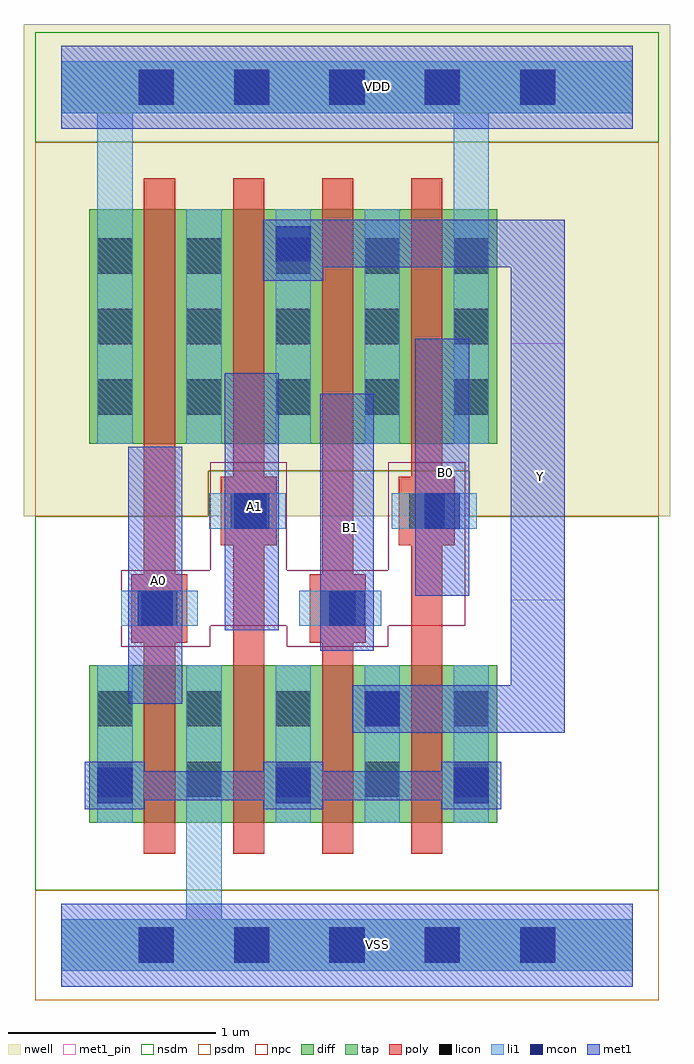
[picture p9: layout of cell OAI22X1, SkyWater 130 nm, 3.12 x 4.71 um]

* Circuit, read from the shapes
.subckt OAI22X1 A0 A1 B0 B1 VDD VSS Y
XM1 VSS A0 n1 VSS sky130_fd_pr__nfet_01v8 w=0.76 l=0.15
XM2 n1 A1 VSS VSS sky130_fd_pr__nfet_01v8 w=0.76 l=0.15
XM3 Y B1 n1 VSS sky130_fd_pr__nfet_01v8 w=0.76 l=0.15
XM4 n1 B0 Y VSS sky130_fd_pr__nfet_01v8 w=0.76 l=0.15
XM5 n2 A0 VDD VDD sky130_fd_pr__pfet_01v8 w=1.13 l=0.15
XM6 Y A1 n2 VDD sky130_fd_pr__pfet_01v8 w=1.13 l=0.15
XM7 n3 B1 Y VDD sky130_fd_pr__pfet_01v8 w=1.13 l=0.15
XM8 VDD B0 n3 VDD sky130_fd_pr__pfet_01v8 w=1.13 l=0.15
.ends

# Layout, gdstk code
import gdstk
lib = gdstk.Library(unit=1e-6, precision=1e-09)
def R(c, l, rs):  # rectangles x0, y0, x1, y1
    for r in rs: c.add(gdstk.rectangle(r[:2], r[2:], *l))
def A(c, l, x, y, w, h, nx, ny, dx, dy):  # array of equal rectangles
    R(c, l, [(x+i*dx, y+j*dy, x+i*dx+w, y+j*dy+h) for i in range(nx) for j in range(ny)])
def P(c, l, *ps):  # polygons
    for p in ps: c.add(gdstk.Polygon(p, *l))
nwell = (64, 20)
diff = (65, 20)
tap = (65, 44)
poly = (66, 20)
licon = (66, 44)
li1 = (67, 20)
mcon = (67, 44)
met1_pin = (68, 16)
met1 = (68, 20)
nsdm = (93, 44)
psdm = (94, 20)
npc = (95, 20)

licondiff_c_cdns_7515547 = lib.new_cell('LICONDIFF_C_CDNS_751554744755')
R(licondiff_c_cdns_7515547, diff, [(-0.125,-0.145,0.125,0.145)])
R(licondiff_c_cdns_7515547, licon, [(-0.085,-0.085,0.085,0.085), (-0.085,-0.085,0.085,0.085)])

pyl1con_c_cdns_751554744 = lib.new_cell('PYL1CON_C_CDNS_751554744751')
R(pyl1con_c_cdns_751554744, poly, [(-0.135,-0.165,0.135,0.165)])
R(pyl1con_c_cdns_751554744, licon, [(-0.085,-0.085,0.085,0.085)])
R(pyl1con_c_cdns_751554744, npc, [(-0.185,-0.185,0.185,0.185)])

oai22x1 = lib.new_cell('OAI22X1')
R(oai22x1, nwell, [(-0.18,2.07,2.94,4.445)])
R(oai22x1, diff, [(0.135,0.59,2.105,1.35), (0.135,2.42,2.105,3.55)])
A(oai22x1, poly, 0.4, 0.44, 0.15, 3.26, 4, 1, 0.43, 0)
A(oai22x1, licon, 0.375, -0.085, 0.17, 0.17, 5, 2, 0.46, 4.14)
A(oai22x1, licon, 0.175, 0.715, 0.17, 0.17, 5, 2, 0.43, 0.34)
A(oai22x1, licon, 0.175, 2.56, 0.17, 0.17, 3, 3, 0.86, 0.34)
A(oai22x1, li1, 1.035, 0.59, 0.17, 0.76, 3, 1, 0.43, 0)
A(oai22x1, li1, 0.175, 0.605, 0.17, 0.33, 3, 1, 0.86, 0)
R(oai22x1, li1, [(0.175,0.59,0.345,1.35), (1.465,0.975,1.635,1.305), (0.29,1.54,0.62,1.71), (0.62,1.54,0.66,1.71), (1.15,1.54,1.215,1.71), (1.215,1.54,1.545,1.71), (0.715,2.01,0.755,2.18), (0.755,2.01,1.085,2.18), (1.595,2.01,1.675,2.18), (1.675,2.01,2.005,2.18), (1.035,2.42,1.205,3.55), (1.035,3.22,1.205,3.55)])
P(oai22x1, li1, [(0.175,2.42),(0.175,4.015),(0,4.015),(0,4.265),(2.76,4.265),(2.76,4.015),(2.065,4.015),(2.065,2.42),(1.895,2.42),(1.895,4.015),(0.345,4.015),(0.345,2.42)],
  [(0,-0.125),(0,0.125),(0.605,0.125),(0.605,1.35),(0.775,1.35),(0.775,0.125),(2.76,0.125),(2.76,-0.125)])
A(oai22x1, mcon, 0.375, -0.085, 0.17, 0.17, 5, 2, 0.46, 4.14)
A(oai22x1, mcon, 0.175, 0.685, 0.17, 0.17, 3, 1, 0.86, 0)
R(oai22x1, mcon, [(1.465,1.055,1.635,1.225), (0.37,1.54,0.54,1.71), (1.295,1.54,1.465,1.71), (0.835,2.01,1.005,2.18), (1.755,2.01,1.925,2.18), (1.035,3.3,1.205,3.47)])
R(oai22x1, met1_pin, [(0.325,1.165,0.585,2.405), (1.25,1.42,1.51,2.66), (0.79,1.52,1.05,2.76), (2.17,1.665,2.43,2.905), (1.71,1.685,1.97,2.925)])
A(oai22x1, met1, 0.115, 0.655, 0.29, 0.23, 3, 1, 0.86, 0)
R(oai22x1, met1, [(1.405,1.025,1.695,1.255), (0.34,1.48,0.57,1.77), (1.265,1.48,1.495,1.77), (0.805,1.95,1.035,2.24), (1.725,1.95,1.955,2.24), (0.975,3.27,1.265,3.5)])
P(oai22x1, met1, [(1.55,1.025),(1.55,1.255),(2.17,1.255),(2.17,3.27),(1.265,3.27),(1.265,3.205),(0.975,3.205),(0.975,3.5),(2.43,3.5),(2.43,1.025)])
R(oai22x1, nsdm, [(-0.125,3.875,2.885,4.405)])
P(oai22x1, nsdm, [(-0.125,0.265),(-0.125,2.07),(0.71,2.07),(0.71,2.29),(1.97,2.29),(1.97,2.07),(2.885,2.07),(2.885,0.265)])
R(oai22x1, psdm, [(-0.125,-0.265,2.885,0.265)])
P(oai22x1, psdm, [(-0.125,2.07),(-0.125,3.875),(2.885,3.875),(2.885,2.07),(1.97,2.07),(1.97,2.29),(0.71,2.29),(0.71,2.07)])
P(oai22x1, npc, [(0.29,1.44),(0.29,1.81),(0.72,1.81),(0.72,2.33),(1.09,2.33),(1.09,1.81),(1.58,1.81),(1.58,2.33),(1.95,2.33),(1.95,1.54),(1.58,1.54),(1.58,1.44),(1.09,1.44),(1.09,1.54),(0.72,1.54),(0.72,1.44)])
oai22x1.add(gdstk.FlexPath([(0.69,2.42),(0.69,3.55)], 0.17, ends="flush", simple_path=True, layer=67, datatype=20))  # li1
oai22x1.add(gdstk.FlexPath([(1.55,2.42),(1.55,3.55)], 0.17, ends="flush", simple_path=True, layer=67, datatype=20))  # li1
oai22x1.add(gdstk.FlexPath([(0.26,0.77),(1.98,0.77)], 0.14, ends="flush", simple_path=True, layer=68, datatype=20))  # met1
oai22x1.add(gdstk.FlexPath([(0,0),(2.76,0)], 0.4, ends="flush", simple_path=True, layer=68, datatype=20))  # met1
oai22x1.add(gdstk.FlexPath([(0,4.14),(2.76,4.14)], 0.4, ends="flush", simple_path=True, layer=68, datatype=20))  # met1
oai22x1.add(gdstk.FlexPath([(0.455,1.165),(0.455,2.405)], 0.26, ends="flush", simple_path=True, layer=68, datatype=20))  # met1
oai22x1.add(gdstk.FlexPath([(1.38,1.42),(1.38,2.66)], 0.26, ends="flush", simple_path=True, layer=68, datatype=20))  # met1
oai22x1.add(gdstk.FlexPath([(0.92,1.52),(0.92,2.76)], 0.26, ends="flush", simple_path=True, layer=68, datatype=20))  # met1
oai22x1.add(gdstk.FlexPath([(1.84,1.685),(1.84,2.925)], 0.26, ends="flush", simple_path=True, layer=68, datatype=20))  # met1
oai22x1.add(gdstk.FlexPath([(0,0),(2.76,0)], 0.25, ends="flush", simple_path=True, layer=65, datatype=44))  # tap
oai22x1.add(gdstk.FlexPath([(0,4.14),(2.76,4.14)], 0.25, ends="flush", simple_path=True, layer=65, datatype=44))  # tap
oai22x1.add(gdstk.FlexPath([(0,0),(2.76,0)], 0.4, ends="flush", simple_path=True, layer=68, datatype=16))  # met1_pin
oai22x1.add(gdstk.FlexPath([(0,4.14),(2.76,4.14)], 0.4, ends="flush", simple_path=True, layer=68, datatype=16))  # met1_pin
oai22x1.add(gdstk.Reference(licondiff_c_cdns_7515547, (0.69,2.645)))
oai22x1.add(gdstk.Reference(licondiff_c_cdns_7515547, (1.55,2.645)))
oai22x1.add(gdstk.Reference(licondiff_c_cdns_7515547, (0.69,2.985)))
oai22x1.add(gdstk.Reference(licondiff_c_cdns_7515547, (1.55,2.985)))
oai22x1.add(gdstk.Reference(licondiff_c_cdns_7515547, (0.69,3.325)))
oai22x1.add(gdstk.Reference(licondiff_c_cdns_7515547, (1.55,3.325)))
oai22x1.add(gdstk.Reference(pyl1con_c_cdns_751554744, (0.475,1.625), x_reflection=True))
oai22x1.add(gdstk.Reference(pyl1con_c_cdns_751554744, (1.335,1.625), x_reflection=True))
oai22x1.add(gdstk.Reference(pyl1con_c_cdns_751554744, (0.905,2.095), x_reflection=True))
oai22x1.add(gdstk.Reference(pyl1con_c_cdns_751554744, (1.765,2.095), x_reflection=True))
oai22x1.add(gdstk.Label('A1', (0.935,2.115), layer=68, texttype=5))
oai22x1.add(gdstk.Label('B1', (1.395,2.015), layer=68, texttype=5))
oai22x1.add(gdstk.Label('Y', (2.315,2.26), layer=68, texttype=5))
oai22x1.add(gdstk.Label('VDD', (1.525,4.145), layer=68, texttype=5))
oai22x1.add(gdstk.Label('VDD', (1.525,4.145), layer=68, texttype=5))
oai22x1.add(gdstk.Label('B0', (1.855,2.28), layer=68, texttype=5))
oai22x1.add(gdstk.Label('VSS', (1.525,0.005), layer=68, texttype=5))
oai22x1.add(gdstk.Label('A0', (0.47,1.76), layer=68, texttype=5))

lib.write_gds('OAI22X1.gds')
